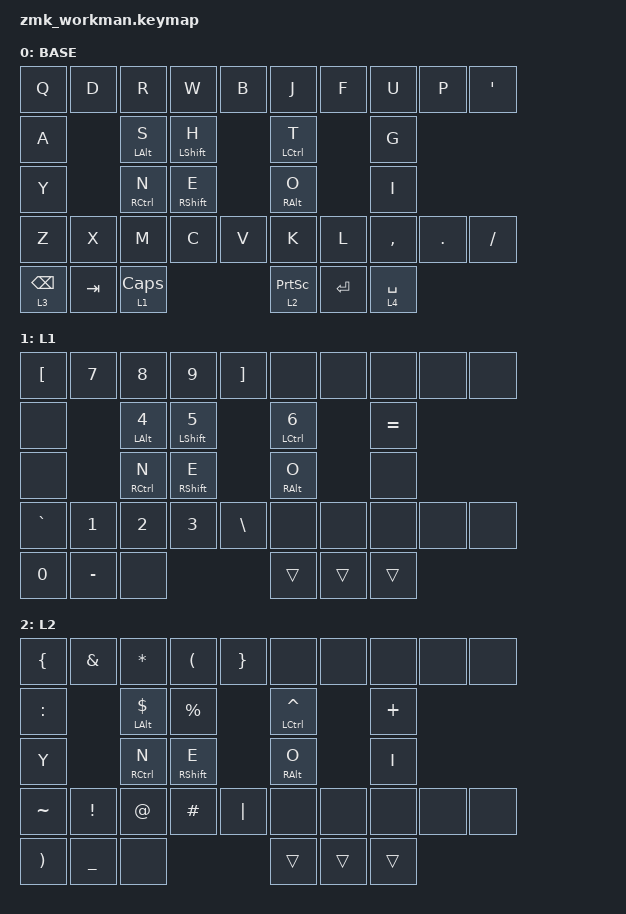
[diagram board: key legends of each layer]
#include <behaviors.dtsi>
#include <dt-bindings/zmk/keys.h>

/ {
    chosen {
        zmk,matrix_transform = &five_column_transform;
    };
};

/ {
  behaviors {

    /* LEFT-hand cross-hand HRMs */
    lhm: left_hand_hrm {
      compatible = "zmk,behavior-hold-tap";
      label = "LHM";
      #binding-cells = <2>;
      tapping-term-ms = <200>;
      quick-tap-ms = <0>;
      flavor = "tap-unless-interrupted";
      bindings = <&kp>, <&kp>;

      /* RIGHT side key positions */
      hold-trigger-key-positions = <5 6 7 8 9  15 16 17 18 19  25 26 27 28 29  33 34 35>;
    };

    /* RIGHT-hand cross-hand HRMs */
    rhm: right_hand_hrm {
      compatible = "zmk,behavior-hold-tap";
      label = "RHM";
      #binding-cells = <2>;
      tapping-term-ms = <200>;
      quick-tap-ms = <0>;
      flavor = "tap-unless-interrupted";
      bindings = <&kp>, <&kp>;

      /* LEFT side key positions */
      hold-trigger-key-positions = <0 1 2 3 4  10 11 12 13 14  20 21 22 23 24  30 31 32>;
    };
  };
  
  / {
  combos {
    compatible = "zmk,combos";

    /* ---------- LEFT (opening) ---------- */

    combo_lparen {
      timeout-ms = <40>;
      key-positions = <11 12>;   // S + H
      bindings = <&kp LPAR>;
    };

    combo_lbracket {
      timeout-ms = <40>;
      key-positions = <12 13>;   // H + T
      bindings = <&kp LBKT>;
    };

    combo_lbrace {
      timeout-ms = <40>;
      key-positions = <11 13>;   // S + T
      bindings = <&kp LBRC>;
    };

    /* ---------- RIGHT (closing) ---------- */

    combo_rparen {
      timeout-ms = <40>;
      key-positions = <16 17>;   // N + E
      bindings = <&kp RPAR>;
    };

    combo_rbracket {
      timeout-ms = <40>;
      key-positions = <17 18>;   // E + O
      bindings = <&kp RBKT>;
    };

    combo_rbrace {
      timeout-ms = <40>;
      key-positions = <16 18>;   // N + O
      bindings = <&kp RBRC>;
    };
  };
};

  keymap {
    compatible = "zmk,keymap";

    /* =========================
     * LAYER 0 — WORKMAN BASE
     * ========================= */
    base {
      display-name = "BASE";
      bindings = <
        /* Row 1 */
        &kp Q    &kp D    &kp R    &kp W    &kp B      &kp J    &kp F    &kp U    &kp P    &kp SQT

        /* Row 2 (final HRM logic) */
        &kp A          &lhm LALT S    &lhm LSHFT H    &lhm LCTRL T    &kp G
        &kp Y          &rhm RCTRL N   &rhm RSHFT E    &rhm RALT O     &kp I

        /* Row 3 */
        &kp Z    &kp X    &kp M    &kp C    &kp V      &kp K    &kp L    &kp COMMA &kp DOT  &kp FSLH

        /* Thumbs */
        &lt 3 BSPC   &kp TAB   &lt 1 CLCK      &lt 2 PSCRN   &kp ENTER   &lt 4 SPACE
      >;
    };

    /* =========================
     * LAYER 1 — NUM
     * ========================= */
    layer_1 {
      display-name = "L1";
      bindings = <
        /* Row 1 */
        &kp LBKT  &kp N7   &kp N8   &kp N9   &kp RBKT    &none &none &none &none &none

        /* Row 2 */
        &none      &lhm LALT N4   &lhm LSHFT N5   &lhm LCTRL N6   &kp EQUAL
        &none      &rhm RCTRL N   &rhm RSHFT E    &rhm RALT O     &none

        /* Row 3 */
        &kp GRAVE  &kp N1   &kp N2   &kp N3   &kp BSLH    &none &none &none &none &none

        /* Thumbs */
        &kp N0   &kp MINUS   &none   &trans   &trans   &trans
      >;
    };

    /* =========================
     * LAYER 2 — SYMBOLS
     * ========================= */
    layer_2 {
      display-name = "L2";
      bindings = <
        /* Row 1 */
        &kp LBRC  &kp AMPS  &kp ASTRK  &kp LPAR  &kp RBRC     &none &none &none &none &none

        /* Row 2 (full symmetry applied) */
        &kp COLON  &lhm LALT DLLR   &kp PRCNT   &lhm LCTRL CARET   &kp PLUS
        &kp Y      &rhm RCTRL N     &rhm RSHFT E  &rhm RALT O       &kp I

        /* Row 3 */
        &kp TILDE &kp EXCL &kp AT &kp HASH &kp PIPE     &none &none &none &none &none

        /* Thumbs */
        &kp RPAR   &kp UNDERSCORE   &none   &trans   &trans   &trans
      >;
    };

    /* (Layers 3–4 unchanged — omitted for brevity if you already have them) */
  };
};
